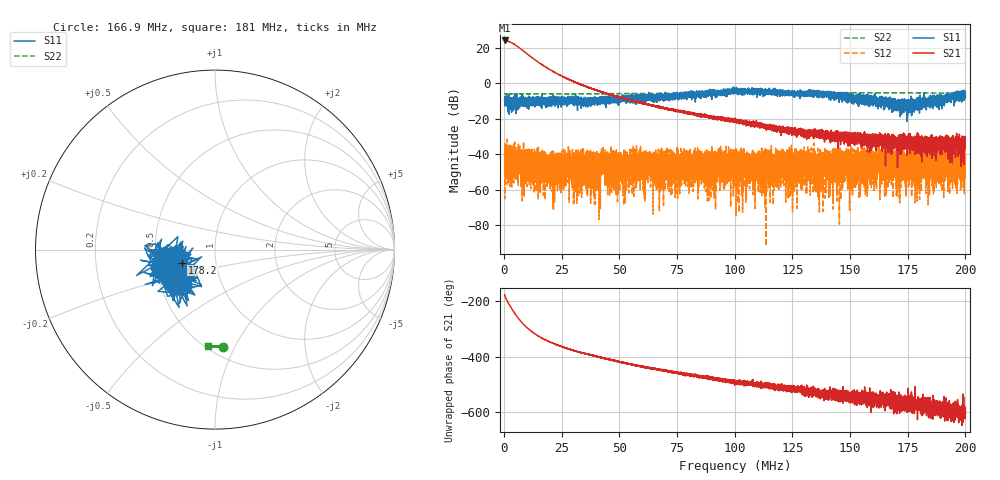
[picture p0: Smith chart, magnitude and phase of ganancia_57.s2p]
# Hz S DB R 50
! CMT, M5065, 19127446, 24.2.4/2
! Date: 10/29/2024 12:50:53 PM
! Data: Format (Calibration Info)
! Freq	S11:dB/Ang(F2)	S21:dB/Ang(F2)	S12:dB/Ang(F2)	S22:dB/Ang(F2)
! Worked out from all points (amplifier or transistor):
!   9000 points, 300 kHz to 200 MHz, reference 50 ohm
!   highest |S21| = 24.2 dB at 366.6 kHz (marker M1)
!   |S21| within 3 dB of that: start of sweep to 5.472 MHz
!   unconditionally stable (mu >= 1): start of sweep to 1.315 MHz; 1.326 MHz to 2.075 MHz; 2.075 MHz to end of sweep
!   at 33.59 MHz: K = 80.52, MAG = 1.0 dB, |S12| = -46.9 dB
!   at 100.2 MHz: K = 209.32, MAG = -17.3 dB, |S12| = -38.9 dB
!   at 200 MHz: K = 1688.34, MAG = -33.3 dB, |S12| = -39.8 dB
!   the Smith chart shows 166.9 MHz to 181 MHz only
!   S11 on the Smith chart (normalised r, x): 166.9 MHz: 0.60, -0.29; 178.2 MHz: 0.68, -0.10; 181 MHz: 0.49, -0.13
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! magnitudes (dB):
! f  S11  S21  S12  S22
! 300 kHz  -9.0  24.1  -38.0  -6.1
! 366.6 kHz  -7.5  24.2  -34.4  -6.0
! 3.34 MHz  -10.6  22.8  -41.2  -6.0
! 10.02 MHz  -10.6  16.7  -48.1  -5.9
! 29.3 MHz  -10.2  1.5  -41.4  -5.9
! 31.37 MHz  -11.6  0.4  -40.7  -5.8
! 33.59 MHz  -9.9  -0.8  -46.9  -5.9
! 40.82 MHz  -10.5  -4.2  -42.0  -5.8
! 43.04 MHz  -7.6  -5.1  -36.2  -5.8
! 48.39 MHz  -8.2  -7.1  -44.5  -5.8
! 59.22 MHz  -7.4  -11.1  -35.2  -5.7
! 66.87 MHz  -8.8  -12.8  -49.6  -5.7
! 100.2 MHz  -3.8  -21.1  -38.9  -5.6
! 121 MHz  -4.5  -26.0  -53.6  -5.5
! 125.2 MHz  -5.4  -25.3  -47.7  -5.5
! 133.4 MHz  -5.4  -27.3  -43.6  -5.4
! 166.7 MHz  -11.2  -30.7  -46.8  -5.3
! 166.9 MHz  -10.3  -32.4  -46.6  -5.3
! 178.2 MHz  -14.1  -37.8  -37.9  -5.4
! 181 MHz  -9.0  -31.9  -48.3  -5.4
! 193.5 MHz  -8.5  -36.2  -49.8  -5.5
! 200 MHz  -6.8  -35.7  -39.8  -5.4
